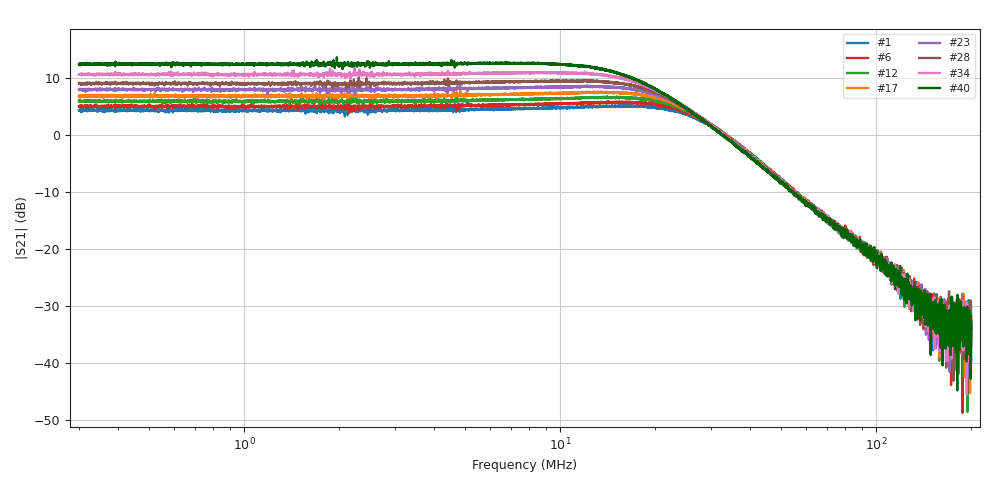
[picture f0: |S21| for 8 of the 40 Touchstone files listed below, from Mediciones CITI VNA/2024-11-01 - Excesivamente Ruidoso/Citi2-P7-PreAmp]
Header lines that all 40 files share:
# Hz S DB R 50
! CMT, M5065, 19127446, 24.2.4/2
! Data: Format (Calibration Info)
! Freq	S11:dB/Ang(F2)	S21:dB/Ang(F2)	S12:dB/Ang(F2)	S22:dB/Ang(F2)
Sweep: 300 kHz to 200 MHz
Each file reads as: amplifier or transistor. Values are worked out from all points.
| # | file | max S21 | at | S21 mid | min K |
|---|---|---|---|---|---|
| 1 | ganancia_0.s2p | 5.7 dB | 2.147 MHz | 4.7 dB at 7.749 MHz | -7965.39 |
| 2 | ganancia_1.s2p | 5.4 dB | 16.02 MHz | 4.8 dB at 7.749 MHz | -4932.20 |
| 3 | ganancia_2.s2p | 5.5 dB | 15.62 MHz | 4.9 dB at 7.749 MHz | -2495.18 |
| 4 | ganancia_3.s2p | 5.7 dB | 1.993 MHz | 5.1 dB at 7.749 MHz | -6071.68 |
| 5 | ganancia_4.s2p | 5.9 dB | 14.71 MHz | 5.4 dB at 7.749 MHz | -1269.43 |
| 6 | ganancia_5.s2p | 6.0 dB | 16.55 MHz | 5.5 dB at 7.749 MHz | -11196.39 |
| 7 | ganancia_6.s2p | 6.1 dB | 14.94 MHz | 5.6 dB at 7.749 MHz | -5770.77 |
| 8 | ganancia_7.s2p | 6.2 dB | 16.72 MHz | 5.7 dB at 7.749 MHz | -4890.63 |
| 9 | ganancia_8.s2p | 6.4 dB | 13.82 MHz | 5.9 dB at 7.749 MHz | -2249.54 |
| 10 | ganancia_9.s2p | 6.6 dB | 13.8 MHz | 6.0 dB at 7.749 MHz | -6089.91 |
| 11 | ganancia_10.s2p | 6.8 dB | 2.451 MHz | 6.2 dB at 7.749 MHz | -4423.50 |
| 12 | ganancia_11.s2p | 6.9 dB | 2.225 MHz | 6.4 dB at 7.749 MHz | -10080.30 |
| 13 | ganancia_12.s2p | 7.0 dB | 13.31 MHz | 6.5 dB at 7.749 MHz | -3636.71 |
| 14 | ganancia_13.s2p | 7.3 dB | 2.512 MHz | 6.8 dB at 7.749 MHz | -2424.74 |
| 15 | ganancia_14.s2p | 7.4 dB | 2.444 MHz | 6.9 dB at 7.749 MHz | -2315.55 |
| 16 | ganancia_15.s2p | 7.7 dB | 2.07 MHz | 6.9 dB at 7.749 MHz | -1746.51 |
| 17 | ganancia_16.s2p | 7.8 dB | 4.827 MHz | 7.2 dB at 7.749 MHz | -1975.31 |
| 18 | ganancia_17.s2p | 8.2 dB | 2.469 MHz | 7.5 dB at 7.749 MHz | -1980.69 |
| 19 | ganancia_18.s2p | 8.0 dB | 1.907 MHz | 7.6 dB at 7.749 MHz | -1374.91 |
| 20 | ganancia_19.s2p | 8.2 dB | 2.234 MHz | 7.7 dB at 7.749 MHz | -3867.23 |
| 21 | ganancia_20.s2p | 8.6 dB | 2.193 MHz | 8.0 dB at 7.749 MHz | -4477.43 |
| 22 | ganancia_21.s2p | 8.8 dB | 2.538 MHz | 8.4 dB at 7.749 MHz | -2299.46 |
| 23 | ganancia_22.s2p | 8.9 dB | 1.677 MHz | 8.4 dB at 7.749 MHz | -5911.80 |
| 24 | ganancia_23.s2p | 8.9 dB | 12.15 MHz | 8.6 dB at 7.749 MHz | -1488.28 |
| 25 | ganancia_24.s2p | 9.8 dB | 2.236 MHz | 8.9 dB at 7.749 MHz | -4454.49 |
| 26 | ganancia_25.s2p | 9.4 dB | 2.456 MHz | 9.1 dB at 7.749 MHz | -3476.01 |
| 27 | ganancia_26.s2p | 9.6 dB | 2.295 MHz | 9.3 dB at 7.749 MHz | -2375.03 |
| 28 | ganancia_27.s2p | 10.2 dB | 2.307 MHz | 9.4 dB at 7.749 MHz | -2224.52 |
| 29 | ganancia_28.s2p | 10.1 dB | 4.606 MHz | 9.7 dB at 7.749 MHz | -2129.81 |
| 30 | ganancia_29.s2p | 10.5 dB | 2.55 MHz | 10.0 dB at 7.749 MHz | -4900.67 |
| 31 | ganancia_30.s2p | 10.6 dB | 1.931 MHz | 10.3 dB at 7.749 MHz | -5072.71 |
| 32 | ganancia_31.s2p | 11.0 dB | 2.525 MHz | 10.4 dB at 7.749 MHz | -7651.78 |
| 33 | ganancia_32.s2p | 11.2 dB | 1.783 MHz | 10.8 dB at 7.749 MHz | -9109.57 |
| 34 | ganancia_33.s2p | 11.9 dB | 2.236 MHz | 10.9 dB at 7.749 MHz | -4375.47 |
| 35 | ganancia_34.s2p | 11.7 dB | 596.8 kHz | 11.3 dB at 7.749 MHz | -2097.42 |
| 36 | ganancia_35.s2p | 12.1 dB | 2.188 MHz | 11.4 dB at 7.749 MHz | -3728.63 |
| 37 | ganancia_36.s2p | 12.3 dB | 2.456 MHz | 11.9 dB at 7.749 MHz | -5061.11 |
| 38 | ganancia_37.s2p | 12.9 dB | 2.32 MHz | 12.2 dB at 7.749 MHz | -1506.37 |
| 39 | ganancia_38.s2p | 12.8 dB | 1.67 MHz | 12.4 dB at 7.749 MHz | -11258.12 |
| 40 | ganancia_39.s2p | 13.7 dB | 1.966 MHz | 12.6 dB at 7.749 MHz | -1838.43 |
